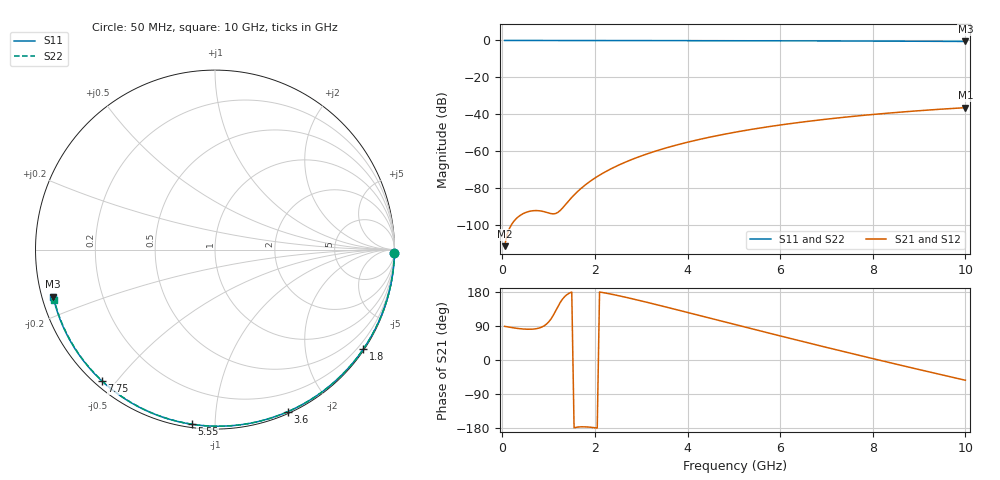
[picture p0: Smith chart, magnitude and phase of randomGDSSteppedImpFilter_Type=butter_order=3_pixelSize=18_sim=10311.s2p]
! freq	dB(S11)	phase(S11)	dB(S12)	phase(S12)
!  dB(S21)	phase(S21)	dB(S22)	phase(S22)
!S-par simulation data
#  GHz  S  DB  R 50
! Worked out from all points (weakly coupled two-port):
!   200 points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, 50 MHz to 10 GHz, reference 50 ohm
!   highest |S21| = -36.49 dB at 10 GHz (marker M1); lowest = -111.7 dB at 50 MHz (marker M2)
!   lowest |S11| = -0.5 dB at 10 GHz (marker M3), VSWR 32.05, Z = 1.59 - j7.09 ohm
!   |S11| at or under -10 dB: nowhere
!   |S22| runs from -0.6 to 0.0 dB; largest |S21 - S12| = 0
!   S11 on the Smith chart (normalised r, x): 50 MHz: open; 1.8 GHz: 0.03, -3.28; 3.6 GHz: 0.02, -1.54; 5.55 GHz: 0.02, -0.87; 7.75 GHz: 0.02, -0.46; 10 GHz: 0.03, -0.14
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0.05  -0.00 -1.0  -111.68 88.9  -111.68 88.9  -0.00 -0.9
0.45  -0.01 -8.6  -94.02 81.8  -94.02 81.8  -0.01 -8.3
0.85  -0.02 -16.2  -92.66 86.8  -92.66 86.8  -0.02 -15.6
1.7  -0.04 -32.1  -80.34 -176.4  -80.34 -176.4  -0.04 -31.0
1.75  -0.04 -33.0  -79.28 -176.3  -79.28 -176.3  -0.04 -31.9
1.8  -0.04 -33.9  -78.28 -176.5  -78.28 -176.5  -0.04 -32.7
1.95  -0.05 -36.7  -75.53 -178.0  -75.53 -178.0  -0.04 -35.4
2.1  -0.05 -39.4  -73.12 179.4  -73.12 179.4  -0.05 -38.1
2.3  -0.06 -43.0  -70.30 175.0  -70.30 175.0  -0.05 -41.6
2.5  -0.06 -46.6  -67.82 170.0  -67.82 170.0  -0.06 -45.1
2.9  -0.07 -53.7  -63.62 158.9  -63.62 158.9  -0.07 -52.0
3.4  -0.08 -62.4  -59.37 144.0  -59.37 144.0  -0.08 -60.5
3.6  -0.09 -65.9  -57.89 137.9  -57.89 137.9  -0.09 -63.8
4.3  -0.11 -77.6  -53.48 116.2  -53.48 116.2  -0.11 -75.3
5.05  -0.14 -89.8  -49.70 92.9  -49.70 92.9  -0.13 -87.3
5.55  -0.16 -97.7  -47.59 77.4  -47.59 77.4  -0.16 -95.1
6.1  -0.19 -106.1  -45.55 60.5  -45.55 60.5  -0.18 -103.6
6.7  -0.22 -115.2  -43.61 42.3  -43.61 42.3  -0.22 -112.7
7.75  -0.30 -130.7  -40.77 11.0  -40.77 11.0  -0.30 -128.3
8.35  -0.36 -139.5  -39.42 -6.5  -39.42 -6.5  -0.35 -137.3
9.2  -0.45 -151.9  -37.77 -30.9  -37.77 -30.9  -0.45 -150.1
10  -0.54 -163.8  -36.49 -53.4  -36.49 -53.4  -0.55 -162.6
